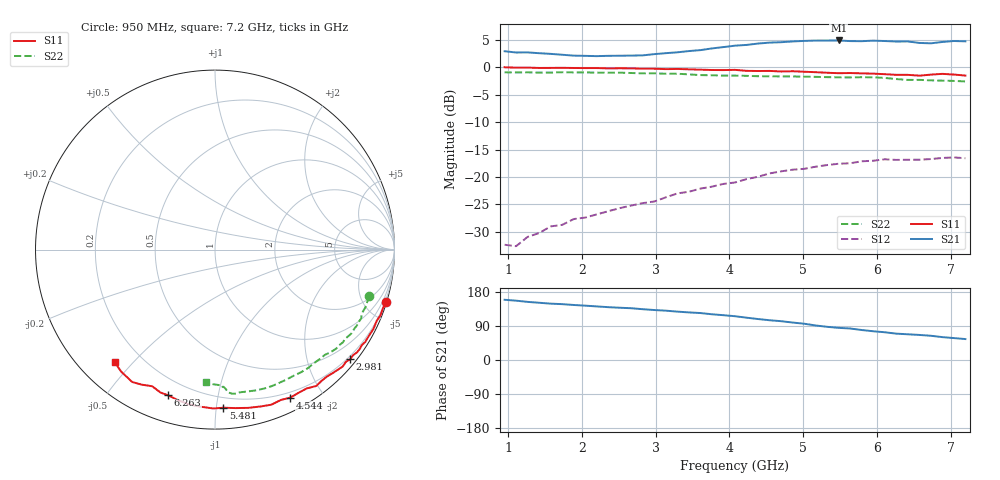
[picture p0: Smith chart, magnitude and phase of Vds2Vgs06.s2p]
!Keysight Technologies,M9375A,US54320202,A.12.55.09
!Date: Monday, July 10, 2023 14:18:33
!Correction: S11(Full 2 Port(1,2))
!S21(Full 2 Port(1,2))
!S12(Full 2 Port(1,2))
!S22(Full 2 Port(1,2))
!S2P File: Measurements: S11, S21, S12, S22:
# Hz S  RI  R 50
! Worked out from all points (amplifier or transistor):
!   41 points, 950 MHz to 7.2 GHz, reference 50 ohm
!   highest |S21| = 4.9 dB at 5.481 GHz (marker M1)
!   |S21| within 3 dB of that: start of sweep to end of sweep
!   unconditionally stable (mu >= 1): nowhere
!   at 1.887 GHz: K = 0.23, MSG = 14.9 dB, |S12| = -27.7 dB
!   at 4.075 GHz: K = 0.37, MSG = 12.5 dB, |S12| = -21.0 dB
!   at 7.2 GHz: K = 0.47, MSG = 10.7 dB, |S12| = -16.6 dB
!   S11 on the Smith chart (normalised r, x): 950 MHz: 0.02, -6.66; 2.981 GHz: 0.14, -2.81; 4.544 GHz: 0.14, -1.62; 5.481 GHz: 0.13, -1.05; 6.263 GHz: 0.12, -0.72; 7.2 GHz: 0.10, -0.44
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9.5e8  0.9552 -0.2936  -1.305 0.5031  0.00663 0.0232  0.859 -0.2598
1.10625e9  0.9352 -0.3272  -1.25 0.5412  0.00892 0.0217  0.8487 -0.2895
1.2625e9  0.9222 -0.366  -1.22 0.6116  0.0109 0.0263  0.8378 -0.3222
1.575e9  0.8912 -0.4208  -1.131 0.6875  0.0147 0.0323  0.8165 -0.3646
2.04375e9  0.848 -0.4959  -1.019 0.7568  0.021 0.0372  0.7905 -0.423
2.66875e9  0.791 -0.5728  -0.9276 0.8772  0.0342 0.043  0.743 -0.4824
2.98125e9  0.7518 -0.6113  -0.8782 0.9804  0.0396 0.0448  0.7123 -0.5171
3.1375e9  0.7294 -0.6255  -0.8666 1.026  0.0446 0.0477  0.6904 -0.5338
3.60625e9  0.6538 -0.6892  -0.7989 1.188  0.0575 0.0533  0.6118 -0.5866
4.075e9  0.5641 -0.7598  -0.6774 1.418  0.0725 0.0517  0.519 -0.6595
4.54375e9  0.4196 -0.8247  -0.4316 1.619  0.0948 0.0512  0.3944 -0.7259
5.0125e9  0.2534 -0.8741  -0.1743 1.727  0.1109 0.0422  0.2772 -0.773
5.16875e9  0.1859 -0.8817  -0.0351 1.749  0.1179 0.0388  0.2305 -0.7841
5.48125e9  0.0466 -0.881  0.1582 1.746  0.1304 0.0203  0.1599 -0.7928
5.6375e9  -0.0099 -0.8851  0.2066 1.718  0.1323 0.0167  0.1369 -0.7952
5.95e9  -0.1438 -0.8623  0.4273 1.694  0.1405 0.00611  0.0975 -0.8034
6.2625e9  -0.2637 -0.8107  0.5995 1.607  0.1428 -0.00999  0.0608 -0.7777
6.41875e9  -0.3038 -0.7963  0.647 1.591  0.1424 -0.0178  0.0488 -0.7648
6.73125e9  -0.4078 -0.7525  0.7248 1.484  0.1431 -0.0273  0.0413 -0.7579
6.8875e9  -0.4616 -0.7376  0.8397 1.476  0.1451 -0.0342  0.0218 -0.7547
7.04375e9  -0.5231 -0.6793  0.9221 1.468  0.1449 -0.0416  -0.00947 -0.7503
7.2e9  -0.5596 -0.6264  0.9818 1.414  0.1404 -0.0473  -0.0518 -0.7402
